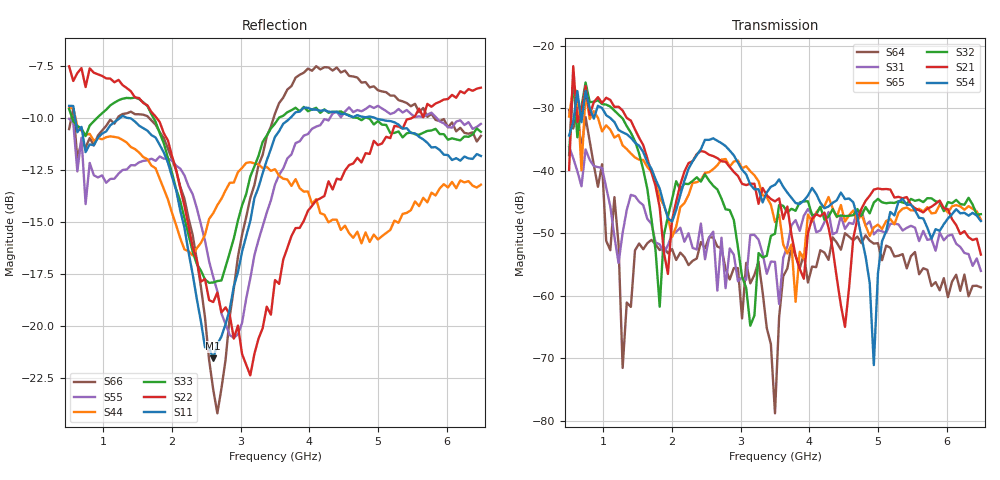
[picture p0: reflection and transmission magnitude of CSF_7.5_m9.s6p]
!Keysight Technologies,M9804A,MY58100912,A.14.10.03
!Date: Thursday, April 27, 2023 10:28:33
!Correction: S11(C  6-Port  )
!S12(C  6-Port  )
!S13(C  6-Port  )
!S14(C  6-Port  )
!S15(C  6-Port  )
!S16(C  6-Port  )
!S21(C  6-Port  )
!S22(C  6-Port  )
!S23(C  6-Port  )
!S24(C  6-Port  )
!S25(C  6-Port  )
!S26(C  6-Port  )
!S31(C  6-Port  )
!S32(C  6-Port  )
!S33(C  6-Port  )
!S34(C  6-Port  )
!S35(C  6-Port  )
!S36(C  6-Port  )
!S41(C  6-Port  )
!S42(C  6-Port  )
!S43(C  6-Port  )
!S44(C  6-Port  )
!S45(C  6-Port  )
!S46(C  6-Port  )
!S51(C  6-Port  )
!S52(C  6-Port  )
!S53(C  6-Port  )
!S54(C  6-Port  )
!S55(C  6-Port  )
!S56(C  6-Port  )
!S61(C  6-Port  )
!S62(C  6-Port  )
!S63(C  6-Port  )
!S64(C  6-Port  )
!S65(C  6-Port  )
!S66(C  6-Port  )
!S6P File: Measurement: :
# Hz S  RI  R 50
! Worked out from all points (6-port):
!   101 points, 500 MHz to 6.5 GHz, reference 50 ohm
!   strongest paths, dB at 500 MHz, 2 GHz, 3.5 GHz, 5 GHz, 6.5 GHz:
!     S54: -34.4, -48.1, -42.3, -56.4, -48.0
!     S21: -39.9, -47.9, -44.9, -42.8, -53.4
!     S32: -37.5, -44.6, -50.1, -44.5, -47.0
!     S65: -31.3, -50.6, -48.2, -48.6, -47.8
!     S31: -36.2, -50.2, -54.6, -49.5, -56.0
!     S64: -30.3, -52.5, -78.8, -51.6, -58.7
!   lowest |S11| = -21.5 dB at 2.6 GHz (marker M1), VSWR 1.18, Z = 42.5 + j2.06 ohm
!   |S11| at or under -10 dB: 588.2 MHz to 1.235 GHz (647.3 MHz wide, 71 % of centre); 1.39 GHz to 3.717 GHz (2.327 GHz wide, 91.1 % of centre); 4.969 GHz to end of sweep
